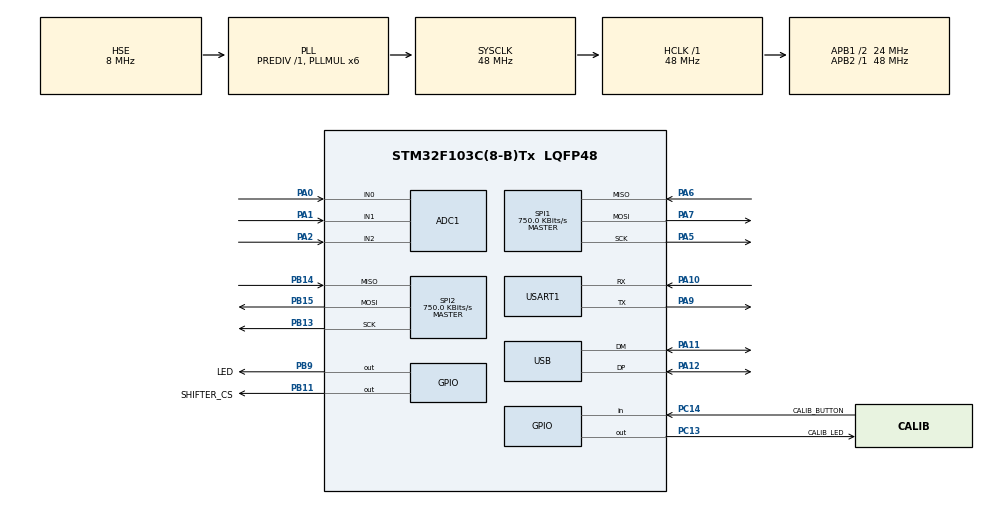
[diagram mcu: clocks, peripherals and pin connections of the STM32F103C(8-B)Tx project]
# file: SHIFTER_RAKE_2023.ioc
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ADC1.Channel-0\#ChannelRegularConversion=ADC_CHANNEL_0
ADC1.Channel-1\#ChannelRegularConversion=ADC_CHANNEL_1
ADC1.Channel-2\#ChannelRegularConversion=ADC_CHANNEL_2
ADC1.ContinuousConvMode=ENABLE
ADC1.NbrOfConversion=3
ADC1.NbrOfConversionFlag=1
ADC1.Rank-0\#ChannelRegularConversion=1
ADC1.Rank-1\#ChannelRegularConversion=2
ADC1.Rank-2\#ChannelRegularConversion=3
ADC1.SamplingTime-0\#ChannelRegularConversion=ADC_SAMPLETIME_239CYCLES_5
ADC1.SamplingTime-1\#ChannelRegularConversion=ADC_SAMPLETIME_239CYCLES_5
ADC1.SamplingTime-2\#ChannelRegularConversion=ADC_SAMPLETIME_239CYCLES_5
ADC1.master=1
Dma.ADC1.0.Direction=DMA_PERIPH_TO_MEMORY
Dma.ADC1.0.Instance=DMA1_Channel1
Dma.ADC1.0.MemDataAlignment=DMA_MDATAALIGN_HALFWORD
Dma.ADC1.0.MemInc=DMA_MINC_ENABLE
Dma.ADC1.0.Mode=DMA_CIRCULAR
Dma.ADC1.0.PeriphDataAlignment=DMA_PDATAALIGN_HALFWORD
Dma.ADC1.0.PeriphInc=DMA_PINC_DISABLE
Dma.ADC1.0.Priority=DMA_PRIORITY_LOW
Dma.Request0=ADC1
Mcu.Family=STM32F1
Mcu.Name=STM32F103C(8-B)Tx
Mcu.Package=LQFP48
NVIC.DMA1_Channel1_IRQn=true\:0\:0\:false\:false\:true\:false\:true\:true
NVIC.PriorityGroup=NVIC_PRIORITYGROUP_4
NVIC.SPI1_IRQn=true\:0\:0\:false\:false\:true\:true\:true\:true
NVIC.USB_LP_CAN1_RX0_IRQn=true\:0\:0\:false\:false\:true\:false\:true\:true
PA0-WKUP.Signal=ADCx_IN0
PA1.Signal=ADCx_IN1
PA10.Mode=Asynchronous
PA10.Signal=USART1_RX
PA11.Mode=Device
PA11.Signal=USB_DM
PA12.Mode=Device
PA12.Signal=USB_DP
PA2.Signal=ADCx_IN2
PA5.Mode=Full_Duplex_Master
PA5.Signal=SPI1_SCK
PA6.Mode=Full_Duplex_Master
PA6.Signal=SPI1_MISO
PA7.Mode=Full_Duplex_Master
PA7.Signal=SPI1_MOSI
PA9.Mode=Asynchronous
PA9.Signal=USART1_TX
PB11.GPIO_Label=SHIFTER_CS
PB11.GPIO_PuPd=GPIO_PULLUP
PB11.GPIO_Speed=GPIO_SPEED_FREQ_HIGH
PB11.PinState=GPIO_PIN_RESET
PB11.Signal=GPIO_Output
PB13.Mode=Full_Duplex_Master
PB13.Signal=SPI2_SCK
PB14.Mode=Full_Duplex_Master
PB14.Signal=SPI2_MISO
PB15.Mode=Full_Duplex_Master
PB15.Signal=SPI2_MOSI
PB9.GPIO_Label=LED
PB9.GPIO_ModeDefaultOutputPP=GPIO_MODE_OUTPUT_OD
PB9.GPIO_PuPd=GPIO_PULLUP
PB9.Signal=GPIO_Output
PC13-TAMPER-RTC.GPIO_Label=CALIB_LED
PC13-TAMPER-RTC.Signal=GPIO_Output
PC14-OSC32_IN.GPIO_Label=CALIB_BUTTON
PC14-OSC32_IN.GPIO_PuPd=GPIO_PULLUP
PC14-OSC32_IN.Signal=GPIO_Input
PD0-OSC_IN.Mode=HSE-External-Oscillator
PD0-OSC_IN.Signal=RCC_OSC_IN
PD1-OSC_OUT.Mode=HSE-External-Oscillator
PD1-OSC_OUT.Signal=RCC_OSC_OUT
ProjectManager.HeapSize=0x200
ProjectManager.StackSize=0x400
ProjectManager.TargetToolchain=STM32CubeIDE
RCC.ADCPresc=RCC_ADCPCLK2_DIV4
RCC.AHBFreq_Value=48000000
RCC.APB1CLKDivider=RCC_HCLK_DIV2
RCC.APB1Freq_Value=24000000
RCC.APB1TimFreq_Value=48000000
RCC.APB2Freq_Value=48000000
RCC.APB2TimFreq_Value=48000000
RCC.HCLKFreq_Value=48000000
RCC.PLLMUL=RCC_PLL_MUL6
RCC.SYSCLKFreq_VALUE=48000000
RCC.SYSCLKSource=RCC_SYSCLKSOURCE_PLLCLK
RCC.USBFreq_Value=48000000
SH.ADCx_IN0.0=ADC1_IN0,IN0
SH.ADCx_IN1.0=ADC1_IN1,IN1
SH.ADCx_IN2.0=ADC1_IN2,IN2
SPI1.BaudRatePrescaler=SPI_BAUDRATEPRESCALER_64
SPI1.CLKPhase=SPI_PHASE_1EDGE
SPI1.CLKPolarity=SPI_POLARITY_HIGH
SPI1.CalculateBaudRate=750.0 KBits/s
SPI1.Direction=SPI_DIRECTION_2LINES
SPI1.Mode=SPI_MODE_MASTER
SPI1.VirtualType=VM_MASTER
SPI2.BaudRatePrescaler=SPI_BAUDRATEPRESCALER_32
SPI2.CLKPhase=SPI_PHASE_1EDGE
SPI2.CLKPolarity=SPI_POLARITY_HIGH
SPI2.CalculateBaudRate=750.0 KBits/s
SPI2.Direction=SPI_DIRECTION_2LINES
SPI2.Mode=SPI_MODE_MASTER
SPI2.VirtualType=VM_MASTER
USART1.VirtualMode=VM_ASYNC
USB_DEVICE.CLASS_NAME_FS=CUSTOM_HID
USB_DEVICE.CONFIGURATION_STRING_CUSTOMHID_FS=Shifter Rake Config
USB_DEVICE.INTERFACE_STRING_CUSTOMHID_FS=Shifter Rake Interface
USB_DEVICE.MANUFACTURER_STRING=CR Software
USB_DEVICE.PID_CUSTOMHID_FS=54344
USB_DEVICE.PRODUCT_STRING_CUSTOMHID_FS=RAKE Shifter
USB_DEVICE.USBD_CUSTOMHID_OUTREPORT_BUF_SIZE=64
USB_DEVICE.VID=65456
USB_DEVICE.VirtualMode=CustomHid
USB_DEVICE.VirtualModeFS=Custom_Hid_FS
VP_USB_DEVICE_VS_USB_DEVICE_CUSTOM_HID_FS.Mode=CUSTOM_HID_FS
board=custom

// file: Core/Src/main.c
/* USER CODE BEGIN Header */
/**
  ******************************************************************************
  * @file           : main.c
  * @brief          : Main program body
  ******************************************************************************
  * @attention
  *
  * Copyright (c) 2022 STMicroelectronics.
  * All rights reserved.
  *
  * This software is licensed under terms that can be found in the LICENSE file
  * in the root directory of this software component.
  * If no LICENSE file comes with this software, it is provided AS-IS.
  *
  ******************************************************************************
  */
/* USER CODE END Header */
#include "main.h"
#include "usb_device.h"

/* USER CODE BEGIN Includes */
#include "string.h"
#include "stdio.h"
#include "stdlib.h"
/* USER CODE END Includes */

/* USER CODE BEGIN PD */
#define FLASH_STORAGE 0x08019000
#define page_size 0x400

/* USER CODE END PD */

ADC_HandleTypeDef hadc1;
DMA_HandleTypeDef hdma_adc1;

SPI_HandleTypeDef hspi1;
SPI_HandleTypeDef hspi2;

UART_HandleTypeDef huart1;

void SystemClock_Config(void);
static void MX_GPIO_Init(void);
static void MX_DMA_Init(void);
static void MX_ADC1_Init(void);
static void MX_SPI1_Init(void);
static void MX_SPI2_Init(void);
static void MX_USART1_UART_Init(void);

/* USER CODE BEGIN 0 */

void read_flash(uint8_t* data)
{
	volatile uint32_t read_data;
	volatile uint32_t read_cnt=0;
	do
	{
		read_data = *(uint32_t*)(FLASH_STORAGE + read_cnt);
		if(read_data != 0xFFFFFFFF)
		{
			data[read_cnt] = (uint8_t)read_data;
			data[read_cnt + 1] = (uint8_t)(read_data >> 8);
			data[read_cnt + 2] = (uint8_t)(read_data >> 16);
			data[read_cnt + 3] = (uint8_t)(read_data >> 24);
			read_cnt += 4;
		}
	}while(read_data != 0xFFFFFFFF);
}

void save_to_flash(uint8_t *data){
	volatile uint32_t data_to_FLASH[(strlen((char*)data)/4)	+ (int)((strlen((char*)data) % 4) != 0)];
	memset((uint8_t*)data_to_FLASH, 0, strlen((char*)data_to_FLASH));
	strcpy((char*)data_to_FLASH, (char*)data);

	volatile uint32_t data_length = (strlen((char*)data_to_FLASH) / 4)
									+ (int)((strlen((char*)data_to_FLASH) % 4) != 0);
	volatile uint16_t pages = (strlen((char*)data)/page_size)
									+ (int)((strlen((char*)data)%page_size) != 0);
	/* Unlock the Flash to enable the flash control register access *************/
	HAL_FLASH_Unlock();

	/* Allow Access to option bytes sector */
	HAL_FLASH_OB_Unlock();

	/* Fill EraseInit structure*/
	FLASH_EraseInitTypeDef EraseInitStruct;
	EraseInitStruct.TypeErase = FLASH_TYPEERASE_PAGES;
	EraseInitStruct.PageAddress = FLASH_STORAGE;
	EraseInitStruct.NbPages = pages;
	uint32_t PageError;

	volatile uint32_t write_cnt=0, index=0;

	volatile HAL_StatusTypeDef status;
	status = HAL_FLASHEx_Erase(&EraseInitStruct, &PageError);
	while(index < data_length)
	{
		if (status == HAL_OK){
			status = HAL_FLASH_Program(FLASH_TYPEPROGRAM_WORD, FLASH_STORAGE+write_cnt, data_to_FLASH[index]);
			if(status == HAL_OK){
				write_cnt += 4;
				index++;
			}
		}
	}

	HAL_FLASH_OB_Lock();
	HAL_FLASH_Lock();
}

extern USBD_HandleTypeDef hUsbDeviceFS;

typedef struct
{
	uint8_t botoes0; //1 - 8 botoes
	uint8_t botoes1; //9 - 16 botoes
	uint8_t botoes_freio0; //lsb 17 - 19 botoes
	uint8_t dummy32;
	uint8_t dummy40;
	uint8_t dummy48;
	uint8_t dummy56;
	uint8_t dummy64;
} joystickHID;
joystickHID joystickhid = {0, 0, 0, 0, 0, 0, 0, 0};

uint8_t read_flash_flag = 1;							// ativa o carregamento de informaçoes da memoria flash
uint8_t spi_detection = 1;								// informa qual spi será testado neste ciclo para deteccao do modelo do shifter
uint16_t spi_values[2] = {0, 0};
uint16_t speed_div_x[2] = {1362, 2408};					// pré definicao dos limites de selecao de velocidades do eixo x
uint16_t speed_div_y[2] = {1117, 2824};					//  -		-		-		-		-		-		-		-  y
uint16_t ADCValue[3] = {0, 0, 0};
int8_t buffer2[6];
uint8_t rx_buffer[2];

void LerADCS(){
	//Este trecho testa somente um spi por round, evitando perca de tempo
	if (spi_detection == 1){
	  HAL_SPI_Receive(&hspi1, rx_buffer, 2, 1);  //descarga para seleção do G27
	  HAL_SPI_Receive(&hspi1, rx_buffer, 2, 1);
		 }
	else {
	  HAL_SPI_Receive(&hspi2, rx_buffer, 2, 1);  // descarga para seleção do G25
	  HAL_SPI_Receive(&hspi2, rx_buffer, 2, 1);
	 }
	//Este trecho salva o valor da tensao do capacitor em cada teste
	if (spi_detection == 1){						// se estiver conectado g25 este valor reduz, pois o jumper entre os pinos 1 [spi1] e 9 [cap] faz isso.
	  spi_values[0] = ADCValue[2];
	  spi_detection = 2;
	}
	else{											// se estiver conectado g27 este valor reduz, pois o jumper entre os pinos 7 [spi2] e 9 [cap] faz isso.
	  spi_values[1] = ADCValue[2];									// quando excitado spi2 gera reducao na tensao do cap caso esteja conectado o g25
	  spi_detection = 1;
	}

  //  HAL_UART_Transmit(&huart1, buffer, sprintf(buffer, "%d ", ADCValue[0]), 100);
  //  HAL_UART_Transmit(&huart1, buffer, sprintf(buffer, "%d ", ADCValue[1]), 100);
//  HAL_UART_Transmit(&huart1, buffer2, sprintf(buffer2, "%d ", ADCValue[2]), 100);
  //HAL_UART_Transmit(&huart1, "      ", 6, 100);
  //HAL_UART_Transmit(&huart1, "\r\n ", 2, 100);
  HAL_Delay(1);
}

void LerSPI(){
  HAL_GPIO_WritePin(SHIFTER_CS_GPIO_Port, SHIFTER_CS_Pin, GPIO_PIN_SET);
  HAL_Delay(1);
//  HAL_SPI_Receive(&hspi1, rx_buffer, 2, 50);
//  HAL_UART_Transmit(&huart1, buffer2, sprintf(buffer2, "%d ", spi_values[0]), 100);
//  HAL_UART_Transmit(&huart1, buffer2, sprintf(buffer2, "%d ", spi_values[1]), 100);

  if (spi_values[0] - spi_values[1] > -10 && spi_values[0] - spi_values[1] < 10){
//	  HAL_UART_Transmit(&huart1, "DESCON", 6, 100);
//	  HAL_UART_Transmit(&huart1, "\r\n ", 2, 100);
	//  return;
  }
  else if (spi_values[0] < spi_values[1]){ 					// significa que está conectado o G27
	  HAL_SPI_Receive(&hspi2, rx_buffer, 2, 50);
//	  HAL_UART_Transmit(&huart1, "G25   ", 6, 100);
//	  HAL_UART_Transmit(&huart1, "\r\n ", 2, 100);
  }
  else{													// significa que está conectado o G25
	  HAL_SPI_Receive(&hspi1, rx_buffer, 2, 50);
//	  HAL_UART_Transmit(&huart1, "G27   ", 6, 100);
//	  HAL_UART_Transmit(&huart1, "\r\n ", 2, 100);
  }

  HAL_Delay(1);
  HAL_GPIO_WritePin(SHIFTER_CS_GPIO_Port, SHIFTER_CS_Pin, GPIO_PIN_RESET);
  HAL_Delay(1);

//  HAL_UART_Transmit(&huart1, buffer2, sprintf(buffer2, "%d ", rx_buffer[0]), 100);
//  HAL_UART_Transmit(&huart1, buffer2, sprintf(buffer2, "%d ", rx_buffer[1]), 100);
//  HAL_UART_Transmit(&huart1, "      ", 6, 100);
//  HAL_UART_Transmit(&huart1, "\r\n ", 2, 100);
}

void Calibrar(void)
{
	if (!HAL_GPIO_ReadPin(CALIB_BUTTON_GPIO_Port, CALIB_BUTTON_Pin)){			// se botão de calibração pressionado
		HAL_Delay(500);
		char params_to_save[50];
		uint16_t axis_x_min_max[2] = {9999, 0};
		uint16_t axis_y_min_max[2] = {9999, 0};
		while (!HAL_GPIO_ReadPin(CALIB_BUTTON_GPIO_Port, CALIB_BUTTON_Pin)){     // permanece na rotina de leitura até que o botão seja solto
			HAL_GPIO_TogglePin(LED_GPIO_Port, LED_Pin);
			HAL_Delay(50);
			LerADCS();  									//le posicao dos eixos
			if (ADCValue[0] < axis_x_min_max[0]){			// define o menor valor detectado no eixo x
				axis_x_min_max[0] = ADCValue[0];
			}
			if (ADCValue[0] > axis_x_min_max[1]){			// define o maior valor detectado no eixo x
				axis_x_min_max[1] = ADCValue[0];
			}
			if (ADCValue[1] < axis_y_min_max[0]){			// define o menor valor detectado no eixo y
				axis_y_min_max[0] = ADCValue[1];
			}
			if (ADCValue[1] > axis_y_min_max[1]){			// define o maior valor detectado no eixo y
				axis_y_min_max[1] = ADCValue[1];
			}
		}
		HAL_GPIO_WritePin(LED_GPIO_Port, LED_Pin, 0);

		uint16_t space_x = (axis_x_min_max[1]-axis_x_min_max[0])/3;
		speed_div_x[0] = axis_x_min_max[0] + (space_x*0.8); 					//calcula as linhas de calibracao do eixo x

		speed_div_x[1] = axis_x_min_max[1] - (space_x*0.8);

		uint16_t space_y = (axis_y_min_max[1]-axis_y_min_max[0])/3;
		speed_div_y[0] = axis_y_min_max[0] + (space_y*0.8); 					//calcula as linhas de calibracao do eixo y

		speed_div_y[1] = axis_y_min_max[1] - (space_y*0.8);

		sprintf(params_to_save, "%u,%u,%u,%u,", speed_div_x[0], speed_div_x[1], speed_div_y[0], speed_div_y[1]);
		save_to_flash((uint8_t *)params_to_save);
		HAL_UART_Transmit(&huart1, (uint8_t *)params_to_save, (int)sizeof(params_to_save), 100);
		HAL_UART_Transmit(&huart1, (uint8_t *)"\r\n ", 2, 100);

	}
}

void update_data_from_flash(uint16_t (* speed_div_x), uint16_t (* speed_div_y)){									// PRECISA FINALIZAR ANTES DE TESTAR
	char data[0xC0];
	read_flash((uint8_t *)data);
	char * token = strtok(data,",");				//first strtok go to variable directly
    if (atoi(token)==0){
    	return;
    }
	speed_div_x[0] = atoi(token);
    token = strtok(NULL,",");
    speed_div_x[1] = atoi(token);
    token = strtok(NULL,",");
    speed_div_y[0] = atoi(token);
    token = strtok(NULL,",");
    speed_div_y[1] = atoi(token);

}

/* USER CODE END 0 */

int main(void)
{

  /* MCU Configuration--------------------------------------------------------*/

  /* Reset of all peripherals, Initializes the Flash interface and the Systick. */
  HAL_Init();

  /* Configure the system clock */
  SystemClock_Config();

  /* Initialize all configured peripherals */
  MX_GPIO_Init();
  MX_DMA_Init();
  MX_USB_DEVICE_Init();
  MX_ADC1_Init();
  MX_SPI1_Init();
  MX_SPI2_Init();
  MX_USART1_UART_Init();
  /* USER CODE BEGIN 2 */
  HAL_ADC_Start_DMA(&hadc1, (uint32_t*)ADCValue, 3);
  HAL_GPIO_WritePin(LED_GPIO_Port, LED_Pin, 0); 		//liga led
  update_data_from_flash(speed_div_x, speed_div_y);				//atualiza valores com os dados da memoria flash

  /* USER CODE END 2 */

  /* Infinite loop */
  while (1)
  {

    /* USER CODE BEGIN 3 */
	  Calibrar();
	  LerADCS();
	  LerSPI();
//	  HAL_UART_Transmit(&huart1, buffer2, sprintf(buffer2, "%d ", speed_div_x[0]), 100);
//	  HAL_UART_Transmit(&huart1, buffer2, sprintf(buffer2, "%d ", speed_div_x[1]), 100);
//	  HAL_UART_Transmit(&huart1, buffer2, sprintf(buffer2, "%d ", speed_div_y[0]), 100);
//	  HAL_UART_Transmit(&huart1, buffer2, sprintf(buffer2, "%d ", speed_div_y[1]), 100);

	  uint16_t cambio_x_axis = (uint16_t) ADCValue[0];  //manopla x
	  uint16_t cambio_y_axis = (uint16_t) ADCValue[1];  //manopla y

	  if (cambio_x_axis < speed_div_x[0] && cambio_y_axis > speed_div_y[1]){  //speed 1
		  joystickhid.botoes0 |= (uint8_t)(1<<0);	// SETA BOTAO 1
	  }
	  else {
		  joystickhid.botoes0 &= ~(uint8_t)(1<<0);	// RESETA BOTAO 1
	  }

	  if (cambio_x_axis < speed_div_x[0] && cambio_y_axis < speed_div_y[0]){  //speed2
		  joystickhid.botoes0 |= (uint8_t)(1<<1);	// SETA BOTAO 2
	  }
	  else {
		  joystickhid.botoes0 &= ~(uint8_t)(1<<1);	// RESETA BOTAO 2
	  }

	  if (cambio_x_axis > speed_div_x[0] && cambio_x_axis < speed_div_x[1] && cambio_y_axis > speed_div_y[1]){  //speed 3
		  joystickhid.botoes0 |= (uint8_t)(1<<2);	// SETA BOTAO 3
	  }
	  else {
		  joystickhid.botoes0 &= ~(uint8_t)(1<<2);	// RESETA BOTAO 3
	  }

	  if (cambio_x_axis > speed_div_x[0] && cambio_x_axis < speed_div_x[1] && cambio_y_axis < speed_div_y[0]){  //speed 4
		  joystickhid.botoes0 |= (uint8_t)(1<<3);	// SETA BOTAO 4
	  }
	  else {
		  joystickhid.botoes0 &= ~(uint8_t)(1<<3);	// RESETA BOTAO 4
	  }

	  if (cambio_x_axis > speed_div_x[1] && cambio_y_axis > speed_div_y[1]){    //speed5
		  joystickhid.botoes0 |= (uint8_t)(1<<4);	// SETA BOTAO 5
	  }
	  else {
		  joystickhid.botoes0 &= ~(uint8_t)(1<<4);	// RESETA BOTAO 5
	  }

	  if (cambio_x_axis > speed_div_x[1] && cambio_y_axis < speed_div_y[0]){    // speed 6
		  joystickhid.botoes0 |= (uint8_t)(1<<5);	// SETA BOTAO 6
	  }
	  else {
		  joystickhid.botoes0 &= ~(uint8_t)(1<<5);	// RESETA BOTAO 6
	  }

	  if (rx_buffer[1] & (uint16_t)(1<<0))  {
		  joystickhid.botoes0 |= (uint16_t) (1<<6);  // SETA BOTAO 7
	  }
	  else {
		  joystickhid.botoes0 &= ~(uint16_t)(1<<6);	// RESETA BOTAO 7
	  }

	  if (rx_buffer[1] & (uint16_t)(1<<1))  {
		  joystickhid.botoes0 |= (uint16_t)(1<<7);	// SETA BOTAO 8
	  }
	  else {
		  joystickhid.botoes0 &= ~(uint16_t)(1<<7);	// RESETA BOTAO 8
	  }

	  if (rx_buffer[1] & (uint16_t)(1<<2))  {
		  joystickhid.botoes1 |= (uint16_t)(1<<0);	// SETA BOTAO 9
	  }
	  else {
		  joystickhid.botoes1 &= ~(uint16_t)(1<<0);	// RESETA BOTAO 9
	  }

	  if (rx_buffer[1] & (uint16_t)(1<<3))  {
		  joystickhid.botoes1 |= (uint16_t)(1<<1);	// SETA BOTAO 10
	  }
	  else {
		  joystickhid.botoes1 &= ~(uint16_t)(1<<1);	// RESETA BOTAO 10
	  }

	  if (rx_buffer[1] & (uint16_t)(1<<4))  {
		  joystickhid.botoes1 |= (uint16_t)(1<<2);	// SETA BOTAO 11
	  }
	  else {
		  joystickhid.botoes1 &= ~(uint16_t)(1<<2);	// RESETA BOTAO 11
	  }

	  if (rx_buffer[1] & (uint16_t)(1<<5))  {
		  joystickhid.botoes1 |= (uint16_t)(1<<3);	// SETA BOTAO 12
	  }
	  else {
		  joystickhid.botoes1 &= ~(uint16_t)(1<<3);	// RESETA BOTAO 12
	  }

	  if (rx_buffer[1] & (uint16_t)(1<<6))  {
		  joystickhid.botoes1 |= (uint16_t)(1<<4);	// SETA BOTAO 13
	  }
	  else {
		  joystickhid.botoes1 &= ~(uint16_t)(1<<4);	// RESETA BOTAO 13
	  }

	  if (rx_buffer[1] & (uint16_t)(1<<7))  {
		  joystickhid.botoes1 |= (uint16_t)(1<<5);	// SETA BOTAO 14
	  }
	  else {
		  joystickhid.botoes1 &= ~(uint16_t)(1<<5);	// RESETA BOTAO 14
	  }

	  if (rx_buffer[0] & (uint16_t)(1<<0))  {
		  joystickhid.botoes1 |= (uint16_t)(1<<6);	// SETA BOTAO 15
	  }
	  else {
		  joystickhid.botoes1 &= ~(uint16_t)(1<<6);	// RESETA BOTAO 15
	  }

	  if (rx_buffer[0] & (uint16_t)(1<<1))  {
		  joystickhid.botoes1 |= (uint32_t)(1<<7);	// SETA BOTAO 16
	  }
	  else {
		  joystickhid.botoes1 &= ~(uint16_t)(1<<7);	// RESETA BOTAO 16
	  }

	  if (rx_buffer[0] & (uint16_t)(1<<2))  {
		  joystickhid.botoes_freio0 |= (uint16_t)(1<<0);	// SETA BOTAO 17
	  }
	  else {
		  joystickhid.botoes_freio0 &= ~(uint16_t)(1<<0);	// RESETA BOTAO 17
	  }

	  if (rx_buffer[0] & (uint16_t)(1<<3))  {
		  joystickhid.botoes_freio0 |= (uint32_t)(1<<1);	// SETA BOTAO 18
	  }
	  else {
		  joystickhid.botoes_freio0 &= ~(uint16_t)(1<<1);	// RESETA BOTAO 18
	  }

	  if (joystickhid.botoes1 == 0b11111111) { //desativa botoes ao pressionar reversa no g29 verifica se todos os botoes estao ativados ao mesmo tempo e desativa.
		  joystickhid.botoes0 = 0;
		  joystickhid.botoes1 = 0;
		  joystickhid.botoes_freio0 = 0;
	  }

	  if (rx_buffer[0] & (uint16_t)(1<<6) && cambio_x_axis > speed_div_x[1] && cambio_y_axis < speed_div_y[0])  {
		  joystickhid.botoes_freio0 |= (uint16_t)(1<<2);	// SETA BOTAO 19 SPEED REVERSA
		  joystickhid.botoes0 &= ~(uint8_t)(1<<5); 			// RESETA BOTAO SPEED 6 QUANDO ATIVA A REVERSA
	  }
	  else {
		  joystickhid.botoes_freio0 &= ~(uint32_t)(1<<2);	// RESETA BOTAO 19 SPEED REVERSA
	  }

	  if (spi_values[0] > 4000 && spi_values[1] > 4000){  //se volante desconectado
		  joystickhid.botoes0 = 0;
	  	  joystickhid.botoes1 = 0;
	  	  joystickhid.botoes_freio0 = 0;
	  }

	  USBD_CUSTOM_HID_SendReport(&hUsbDeviceFS, &joystickhid, sizeof(joystickhid));

	  HAL_Delay(1);

  }
  /* USER CODE END 3 */
}

void SystemClock_Config(void)
{
  RCC_OscInitTypeDef RCC_OscInitStruct = {0};
  RCC_ClkInitTypeDef RCC_ClkInitStruct = {0};
  RCC_PeriphCLKInitTypeDef PeriphClkInit = {0};

  /** Initializes the RCC Oscillators according to the specified parameters
  * in the RCC_OscInitTypeDef structure.
  */
  RCC_OscInitStruct.OscillatorType = RCC_OSCILLATORTYPE_HSE;
  RCC_OscInitStruct.HSEState = RCC_HSE_ON;
  RCC_OscInitStruct.HSEPredivValue = RCC_HSE_PREDIV_DIV1;
  RCC_OscInitStruct.HSIState = RCC_HSI_ON;
  RCC_OscInitStruct.PLL.PLLState = RCC_PLL_ON;
  RCC_OscInitStruct.PLL.PLLSource = RCC_PLLSOURCE_HSE;
  RCC_OscInitStruct.PLL.PLLMUL = RCC_PLL_MUL6;
  if (HAL_RCC_OscConfig(&RCC_OscInitStruct) != HAL_OK)
  {
    Error_Handler();
  }

  /** Initializes the CPU, AHB and APB buses clocks
  */
  RCC_ClkInitStruct.ClockType = RCC_CLOCKTYPE_HCLK|RCC_CLOCKTYPE_SYSCLK
                              |RCC_CLOCKTYPE_PCLK1|RCC_CLOCKTYPE_PCLK2;
  RCC_ClkInitStruct.SYSCLKSource = RCC_SYSCLKSOURCE_PLLCLK;
  RCC_ClkInitStruct.AHBCLKDivider = RCC_SYSCLK_DIV1;
  RCC_ClkInitStruct.APB1CLKDivider = RCC_HCLK_DIV2;
  RCC_ClkInitStruct.APB2CLKDivider = RCC_HCLK_DIV1;

  if (HAL_RCC_ClockConfig(&RCC_ClkInitStruct, FLASH_LATENCY_1) != HAL_OK)
  {
    Error_Handler();
  }
  PeriphClkInit.PeriphClockSelection = RCC_PERIPHCLK_ADC|RCC_PERIPHCLK_USB;
  PeriphClkInit.AdcClockSelection = RCC_ADCPCLK2_DIV4;
  PeriphClkInit.UsbClockSelection = RCC_USBCLKSOURCE_PLL;
  if (HAL_RCCEx_PeriphCLKConfig(&PeriphClkInit) != HAL_OK)
  {
    Error_Handler();
  }
}

static void MX_ADC1_Init(void)
{

  ADC_ChannelConfTypeDef sConfig = {0};

  /** Common config
  */
  hadc1.Instance = ADC1;
  hadc1.Init.ScanConvMode = ADC_SCAN_ENABLE;
  hadc1.Init.ContinuousConvMode = ENABLE;
  hadc1.Init.DiscontinuousConvMode = DISABLE;
  hadc1.Init.ExternalTrigConv = ADC_SOFTWARE_START;
  hadc1.Init.DataAlign = ADC_DATAALIGN_RIGHT;
  hadc1.Init.NbrOfConversion = 3;
  if (HAL_ADC_Init(&hadc1) != HAL_OK)
  {
    Error_Handler();
  }

  /** Configure Regular Channel
  */
  sConfig.Channel = ADC_CHANNEL_0;
  sConfig.Rank = ADC_REGULAR_RANK_1;
  sConfig.SamplingTime = ADC_SAMPLETIME_239CYCLES_5;
  if (HAL_ADC_ConfigChannel(&hadc1, &sConfig) != HAL_OK)
  {
    Error_Handler();
  }

  /** Configure Regular Channel
  */
  sConfig.Channel = ADC_CHANNEL_1;
  sConfig.Rank = ADC_REGULAR_RANK_2;
  if (HAL_ADC_ConfigChannel(&hadc1, &sConfig) != HAL_OK)
  {
    Error_Handler();
  }

  /** Configure Regular Channel
  */
  sConfig.Channel = ADC_CHANNEL_2;
  sConfig.Rank = ADC_REGULAR_RANK_3;
  if (HAL_ADC_ConfigChannel(&hadc1, &sConfig) != HAL_OK)
  {
    Error_Handler();
  }

}

static void MX_SPI1_Init(void)
{

  /* SPI1 parameter configuration*/
  hspi1.Instance = SPI1;
  hspi1.Init.Mode = SPI_MODE_MASTER;
  hspi1.Init.Direction = SPI_DIRECTION_2LINES;
  hspi1.Init.DataSize = SPI_DATASIZE_8BIT;
  hspi1.Init.CLKPolarity = SPI_POLARITY_HIGH;
  hspi1.Init.CLKPhase = SPI_PHASE_1EDGE;
  hspi1.Init.NSS = SPI_NSS_SOFT;
  hspi1.Init.BaudRatePrescaler = SPI_BAUDRATEPRESCALER_64;
  hspi1.Init.FirstBit = SPI_FIRSTBIT_MSB;
  hspi1.Init.TIMode = SPI_TIMODE_DISABLE;
  hspi1.Init.CRCCalculation = SPI_CRCCALCULATION_DISABLE;
  hspi1.Init.CRCPolynomial = 10;
  if (HAL_SPI_Init(&hspi1) != HAL_OK)
  {
    Error_Handler();
  }

}

static void MX_SPI2_Init(void)
{

  /* SPI2 parameter configuration*/
  hspi2.Instance = SPI2;
  hspi2.Init.Mode = SPI_MODE_MASTER;
  hspi2.Init.Direction = SPI_DIRECTION_2LINES;
  hspi2.Init.DataSize = SPI_DATASIZE_8BIT;
  hspi2.Init.CLKPolarity = SPI_POLARITY_HIGH;
  hspi2.Init.CLKPhase = SPI_PHASE_1EDGE;
  hspi2.Init.NSS = SPI_NSS_SOFT;
  hspi2.Init.BaudRatePrescaler = SPI_BAUDRATEPRESCALER_32;
  hspi2.Init.FirstBit = SPI_FIRSTBIT_MSB;
  hspi2.Init.TIMode = SPI_TIMODE_DISABLE;
  hspi2.Init.CRCCalculation = SPI_CRCCALCULATION_DISABLE;
  hspi2.Init.CRCPolynomial = 10;
  if (HAL_SPI_Init(&hspi2) != HAL_OK)
  {
    Error_Handler();
  }

}

static void MX_USART1_UART_Init(void)
{

  huart1.Instance = USART1;
  huart1.Init.BaudRate = 115200;
  huart1.Init.WordLength = UART_WORDLENGTH_8B;
  huart1.Init.StopBits = UART_STOPBITS_1;
  huart1.Init.Parity = UART_PARITY_NONE;
  huart1.Init.Mode = UART_MODE_TX_RX;
  huart1.Init.HwFlowCtl = UART_HWCONTROL_NONE;
  huart1.Init.OverSampling = UART_OVERSAMPLING_16;
  if (HAL_UART_Init(&huart1) != HAL_OK)
  {
    Error_Handler();
  }

}

static void MX_DMA_Init(void)
{

  /* DMA controller clock enable */
  __HAL_RCC_DMA1_CLK_ENABLE();

  /* DMA interrupt init */
  /* DMA1_Channel1_IRQn interrupt configuration */
  HAL_NVIC_SetPriority(DMA1_Channel1_IRQn, 0, 0);
  HAL_NVIC_EnableIRQ(DMA1_Channel1_IRQn);

}

static void MX_GPIO_Init(void)
{
  GPIO_InitTypeDef GPIO_InitStruct = {0};

  /* GPIO Ports Clock Enable */
  __HAL_RCC_GPIOC_CLK_ENABLE();
  __HAL_RCC_GPIOD_CLK_ENABLE();
  __HAL_RCC_GPIOA_CLK_ENABLE();
  __HAL_RCC_GPIOB_CLK_ENABLE();

  /*Configure GPIO pin Output Level */
  HAL_GPIO_WritePin(CALIB_LED_GPIO_Port, CALIB_LED_Pin, GPIO_PIN_RESET);

  /*Configure GPIO pin Output Level */
  HAL_GPIO_WritePin(GPIOB, SHIFTER_CS_Pin|LED_Pin, GPIO_PIN_RESET);

  /*Configure GPIO pin : CALIB_LED_Pin */
  GPIO_InitStruct.Pin = CALIB_LED_Pin;
  GPIO_InitStruct.Mode = GPIO_MODE_OUTPUT_PP;
  GPIO_InitStruct.Pull = GPIO_NOPULL;
  GPIO_InitStruct.Speed = GPIO_SPEED_FREQ_LOW;
  HAL_GPIO_Init(CALIB_LED_GPIO_Port, &GPIO_InitStruct);

  /*Configure GPIO pin : CALIB_BUTTON_Pin */
  GPIO_InitStruct.Pin = CALIB_BUTTON_Pin;
  GPIO_InitStruct.Mode = GPIO_MODE_INPUT;
  GPIO_InitStruct.Pull = GPIO_PULLUP;
  HAL_GPIO_Init(CALIB_BUTTON_GPIO_Port, &GPIO_InitStruct);

  /*Configure GPIO pin : SHIFTER_CS_Pin */
  GPIO_InitStruct.Pin = SHIFTER_CS_Pin;
  GPIO_InitStruct.Mode = GPIO_MODE_OUTPUT_PP;
  GPIO_InitStruct.Pull = GPIO_PULLUP;
  GPIO_InitStruct.Speed = GPIO_SPEED_FREQ_HIGH;
  HAL_GPIO_Init(SHIFTER_CS_GPIO_Port, &GPIO_InitStruct);

  /*Configure GPIO pin : LED_Pin */
  GPIO_InitStruct.Pin = LED_Pin;
  GPIO_InitStruct.Mode = GPIO_MODE_OUTPUT_OD;
  GPIO_InitStruct.Pull = GPIO_PULLUP;
  GPIO_InitStruct.Speed = GPIO_SPEED_FREQ_LOW;
  HAL_GPIO_Init(LED_GPIO_Port, &GPIO_InitStruct);

}

void Error_Handler(void)
{
  __disable_irq();
  while (1)
  {
  }
}
